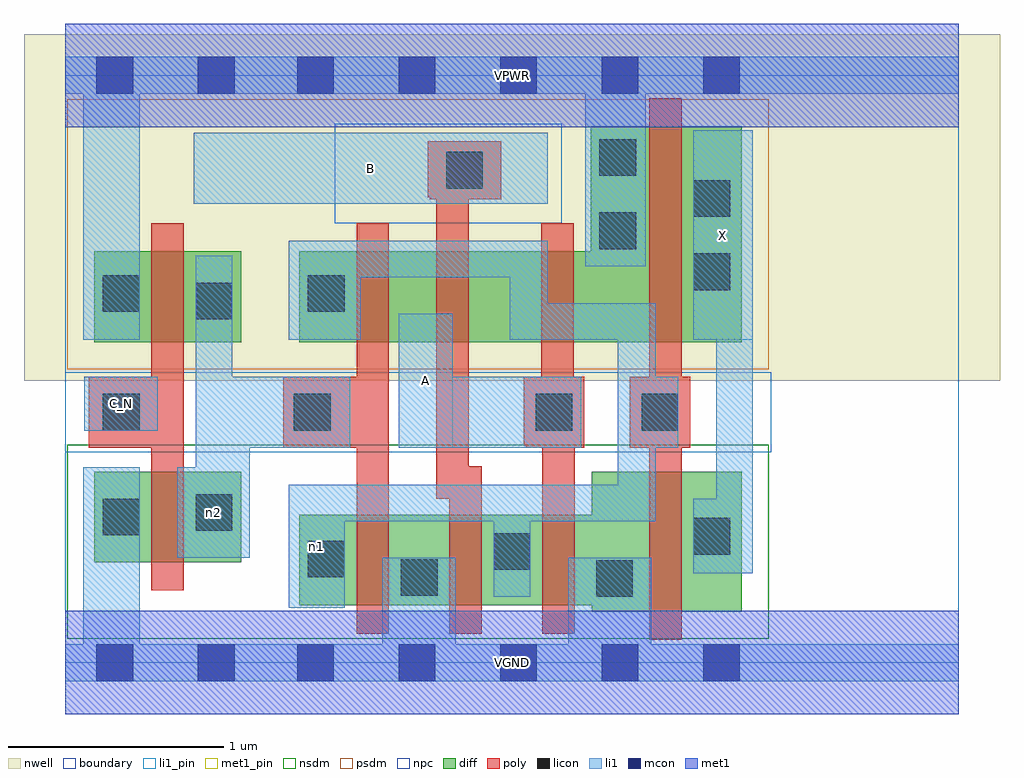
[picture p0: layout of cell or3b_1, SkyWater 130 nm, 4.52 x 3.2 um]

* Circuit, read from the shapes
.subckt or3b_1 A B C_N VGND VPWR X n1 n2
XM1 n2 C_N VGND VSUBS sky130_fd_pr__nfet_01v8 w=0.42 l=0.15
XM2 VGND n2 n1 VSUBS sky130_fd_pr__nfet_01v8 w=0.42 l=0.15
XM3 n1 B VGND VSUBS sky130_fd_pr__nfet_01v8 w=0.42 l=0.15
XM4 VGND A n1 VSUBS sky130_fd_pr__nfet_01v8 w=0.42 l=0.15
XM5 X n1 VGND VSUBS sky130_fd_pr__nfet_01v8 w=0.65 l=0.15
XM6 n2 C_N VPWR n3 sky130_fd_pr__pfet_01v8 w=0.42 l=0.15
XM7 n4 n2 n1 n3 sky130_fd_pr__pfet_01v8 w=0.42 l=0.15
XM8 n5 B n4 n3 sky130_fd_pr__pfet_01v8 w=0.42 l=0.15
XM9 VPWR A n5 n3 sky130_fd_pr__pfet_01v8 w=0.42 l=0.15
XM10 X n1 VPWR n3 sky130_fd_pr__pfet_01v8 w=1 l=0.15
.ends

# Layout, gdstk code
import gdstk
lib = gdstk.Library(unit=1e-6, precision=1e-09)
def R(c, l, rs):  # rectangles x0, y0, x1, y1
    for r in rs: c.add(gdstk.rectangle(r[:2], r[2:], *l))
def A(c, l, x, y, w, h, nx, ny, dx, dy):  # array of equal rectangles
    R(c, l, [(x+i*dx, y+j*dy, x+i*dx+w, y+j*dy+h) for i in range(nx) for j in range(ny)])
nwell = (64, 20)
diff = (65, 20)
poly = (66, 20)
licon = (66, 44)
li1_pin = (67, 16)
li1 = (67, 20)
mcon = (67, 44)
met1_pin = (68, 16)
met1 = (68, 20)
nsdm = (93, 44)
psdm = (94, 20)
npc = (95, 20)
boundary = (235, 4)

or3b_1 = lib.new_cell('or3b_1')
R(or3b_1, nwell, [(-0.19,1.305,4.33,2.91), (0,1.305,4.14,2.91)])
R(or3b_1, diff, [(2.44,0.235,3.135,0.885), (1.085,0.265,3.135,0.685), (0.135,0.465,0.815,0.885), (0.135,1.485,0.815,1.905), (1.085,1.485,3.135,1.905), (2.435,1.485,3.135,2.485)])
R(or3b_1, poly, [(2.705,0.105,2.855,2.615), (1.35,0.135,1.5,2.035), (1.78,0.135,1.93,0.91), (2.21,0.135,2.36,1.325), (0.4,0.335,0.55,2.035), (1.72,0.76,1.87,2.415), (0.11,0.995,0.55,1.325), (1.01,0.995,1.5,1.325), (2.135,0.995,2.405,1.325), (2.205,0.995,2.355,2.035), (2.615,0.995,2.895,1.325), (2.125,1.005,2.405,1.325), (1.69,2.145,2.02,2.415), (1.68,2.155,2.02,2.415)])
R(or3b_1, licon, [(2.46,0.305,2.63,0.475), (1.555,0.31,1.725,0.48), (1.125,0.395,1.295,0.565), (1.985,0.43,2.155,0.6), (2.91,0.5,3.08,0.67), (0.175,0.59,0.345,0.76), (0.605,0.61,0.775,0.78), (0.175,1.075,0.345,1.245), (1.06,1.075,1.23,1.245), (2.18,1.075,2.35,1.245), (2.67,1.075,2.84,1.245), (0.605,1.59,0.775,1.76), (0.175,1.625,0.345,1.795), (1.125,1.625,1.295,1.795), (2.91,1.725,3.08,1.895), (2.475,1.915,2.645,2.085), (2.91,2.065,3.08,2.235), (1.765,2.195,1.935,2.365), (2.475,2.255,2.645,2.425)])
R(or3b_1, li1_pin, [(1.545,0.995,1.795,1.615), (0.09,1.075,0.43,1.325), (2.91,1.495,3.185,2.465), (0.595,2.125,2.235,2.455)])
R(or3b_1, li1, [(0,-0.085,4.14,0.085), (0.085,-0.085,0.345,0.905), (1.47,-0.085,1.81,0.485), (2.33,-0.085,2.715,0.485), (1.035,0.255,1.295,0.825), (1.985,0.305,2.155,0.825), (2.91,0.415,3.185,0.76), (3.015,0.415,3.185,2.465), (0.52,0.485,0.855,0.905), (0.605,0.485,0.775,1.885), (0.605,0.485,0.855,1.325), (1.035,0.655,2.735,0.825), (2.56,0.655,2.735,1.665), (0.605,0.995,1.32,1.325), (1.545,0.995,2.39,1.325), (1.545,0.995,1.795,1.615), (2.56,0.995,2.84,1.325), (0.09,1.075,0.43,1.325), (0.085,1.495,0.345,2.805), (1.035,1.495,1.37,1.955), (2.06,1.495,2.735,1.665), (2.06,1.495,2.235,1.955), (2.91,1.495,3.185,2.465), (1.035,1.785,2.235,1.955), (2.41,1.835,2.69,2.805), (0.595,2.125,2.235,2.455), (0,2.635,4.14,2.805)])
A(or3b_1, mcon, 1.075, -0.085, 0.17, 0.17, 5, 2, 0.47, 2.72)
R(or3b_1, mcon, [(0.145,-0.085,0.315,0.085), (0.615,-0.085,0.785,0.085), (0.145,2.635,0.315,2.805), (0.615,2.635,0.785,2.805)])
R(or3b_1, met1_pin, [(0,-0.24,4.14,0.24), (0,2.48,4.14,2.96)])
R(or3b_1, met1, [(0,-0.24,4.14,0.24), (0,2.48,4.14,2.96)])
R(or3b_1, nsdm, [(0.01,0.11,3.26,1.01)])
R(or3b_1, psdm, [(0.01,1.36,3.26,2.61)])
R(or3b_1, npc, [(0,0.975,3.27,1.345), (1.25,2.035,2.3,2.495)])
R(or3b_1, boundary, [(0,0,4.14,2.72)])
or3b_1.add(gdstk.Label('A', (1.67,1.305), layer=67, texttype=5))
or3b_1.add(gdstk.Label('B', (1.415,2.29), layer=67, texttype=5))
or3b_1.add(gdstk.Label('C_N', (0.26,1.2), layer=67, texttype=5))
or3b_1.add(gdstk.Label('X', (3.047,1.98), layer=67, texttype=5))
or3b_1.add(gdstk.Label('n2', (0.687,0.695), layer=67, texttype=5))
or3b_1.add(gdstk.Label('n1', (1.165,0.54), layer=67, texttype=5))
or3b_1.add(gdstk.Label('VPWR', (2.07,2.72), layer=68, texttype=5))
or3b_1.add(gdstk.Label('VGND', (2.07,0), layer=68, texttype=5))
or3b_1.add(gdstk.Label('A', (1.67,1.305), layer=67, texttype=16))
or3b_1.add(gdstk.Label('B', (1.415,2.29), layer=67, texttype=16))
or3b_1.add(gdstk.Label('C_N', (0.26,1.2), layer=67, texttype=16))
or3b_1.add(gdstk.Label('X', (3.047,1.98), layer=67, texttype=16))
or3b_1.add(gdstk.Label('VPWR', (2.07,2.72), layer=68, texttype=16))
or3b_1.add(gdstk.Label('VGND', (2.07,0), layer=68, texttype=16))

lib.write_gds('or3b_1.gds')
